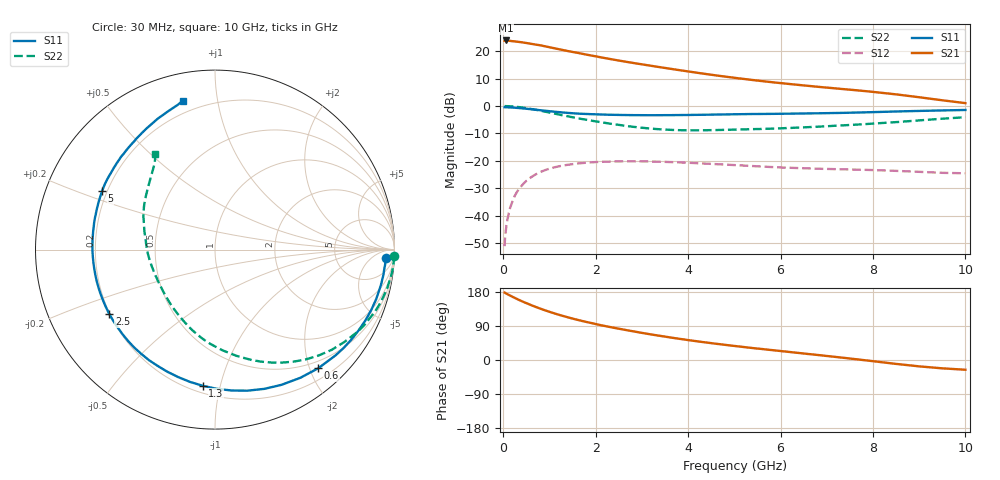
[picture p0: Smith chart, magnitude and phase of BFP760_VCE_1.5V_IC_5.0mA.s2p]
! Infineon Technologies  Discrete & RF Semiconductors
! BFP760
! VCE =  1.5 V,  IC =  5.0 mA
! Common Emitter S-Parameters:  Nov 2012
# GHz  S  MA  R  50
!  f  S11  S21  S12  S22
! GHz  MAG  ANG  MAG  ANG  MAG  ANG  MAG  ANG
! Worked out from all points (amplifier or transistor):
!   99 points, 30 MHz to 10 GHz, reference 50 ohm
!   highest |S21| = 23.9 dB at 50 MHz (marker M1)
!   |S21| within 3 dB of that: start of sweep to 1.151 GHz
!   unconditionally stable (mu >= 1): 6.274 GHz to end of sweep
!   at 350 MHz: K = 0.08, MSG = 26.7 dB, |S12| = -30.0 dB
!   at 3.5 GHz: K = 0.48, MSG = 17.1 dB, |S12| = -20.3 dB
!   at 10 GHz: K = 1.36, MAG = 9.2 dB, |S12| = -24.5 dB
!   S11 on the Smith chart (normalised r, x): 30 MHz: 21, -21; 600 MHz: 0.38, -2.14; 1.3 GHz: 0.24, -0.88; 2.5 GHz: 0.20, -0.27; 5 GHz: 0.18, +0.24; 10 GHz: 0.14, +0.80
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0.03  0.9531 -2.7  15.43 178.0  0.0028 87.9  0.9987 -2.0
0.05  0.9518 -4.3  15.67 176.3  0.0049 88.5  0.9983 -3.1
0.15  0.9441 -12.9  15.39 170.0  0.0141 82.1  0.9896 -9.5
0.35  0.9178 -29.5  14.7 158.0  0.0315 71.9  0.9552 -21.5
0.45  0.9022 -37.4  14.28 152.6  0.0395 67.3  0.9309 -27.2
0.6  0.8762 -49.0  13.63 145.0  0.0503 60.3  0.8859 -35.5
0.8  0.8397 -63.8  12.8 135.6  0.0626 52.1  0.8257 -45.6
0.9  0.8231 -70.5  12.29 131.3  0.0678 48.3  0.7933 -50.5
1.1  0.7905 -83.3  11.33 123.3  0.0762 41.4  0.7309 -59.5
1.3  0.7619 -95.1  10.45 116.0  0.0826 35.3  0.6743 -67.7
1.5  0.7395 -106.0  9.669 109.3  0.0874 30.1  0.6245 -75.1
1.7  0.7225 -116.2  8.996 103.2  0.0913 25.6  0.5809 -82.2
2.1  0.7023 -133.8  7.752 92.2  0.0961 17.3  0.5099 -96.1
2.5  0.6896 -148.7  6.747 82.6  0.0981 10.5  0.4542 -108.7
3  0.6821 -165.2  5.757 71.6  0.0982 3.5  0.4025 -124.5
3.4  0.6818 -176.6  5.094 63.6  0.0965 -1.3  0.3771 -136.8
4.3  0.6931 163.3  3.926 47.6  0.0901 -9.5  0.3622 -160.9
5  0.7086 152.6  3.275 37.1  0.0841 -13.2  0.3718 -174.2
5.1  0.7105 151.3  3.197 35.7  0.0831 -13.6  0.374 -175.8
6.7  0.7366 134.7  2.29 14.7  0.0727 -16.0  0.4165 161.7
8.5  0.7963 113.6  1.633 -10.3  0.0659 -17.4  0.5097 137.1
10  0.8481 102.2  1.13 -25.7  0.0596 -13.4  0.6269 122.0
